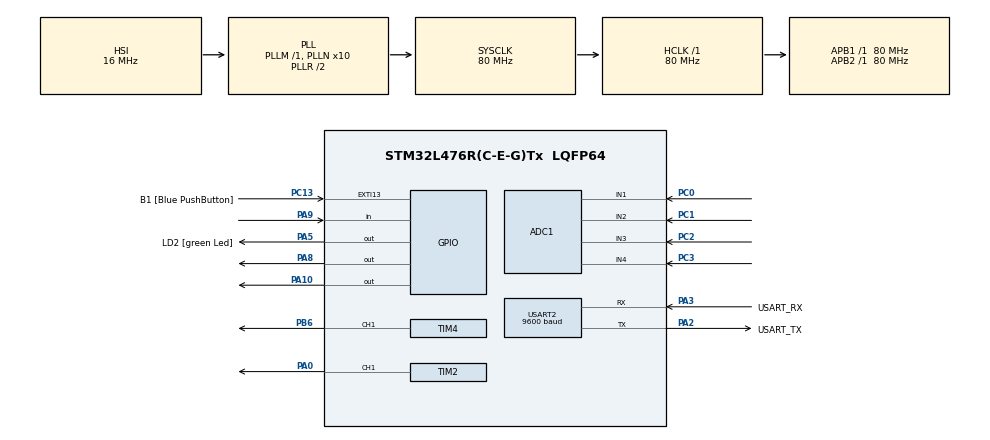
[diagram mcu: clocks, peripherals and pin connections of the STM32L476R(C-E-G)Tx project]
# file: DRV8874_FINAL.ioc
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Mcu.Family=STM32L4
PA2.GPIO_PuPd=GPIO_NOPULL
RCC.CortexFreq_Value=80000000
ADC1.ContinuousConvMode=ENABLE
PH0-OSC_IN\ (PH0).Signal=RCC_OSC_IN
SH.ADCx_IN2.0=ADC1_IN2,IN2-Single-Ended
PA3.GPIO_PuPd=GPIO_NOPULL
PA2.GPIO_Speed=GPIO_SPEED_FREQ_VERY_HIGH
PC15-OSC32_OUT\ (PC15).Mode=LSE-External-Oscillator
PC13.GPIO_Label=B1 [Blue PushButton]
PA3.GPIO_Speed=GPIO_SPEED_FREQ_VERY_HIGH
RCC.SYSCLKSource=RCC_SYSCLKSOURCE_PLLCLK
ProjectManager.StackSize=0x400
PC14-OSC32_IN\ (PC14).Mode=LSE-External-Oscillator
PA14\ (JTCK-SWCLK).Signal=SYS_JTCK-SWCLK
ADC1.Channel-3\#ChannelRegularConversion=ADC_CHANNEL_4
RCC.HCLKFreq_Value=80000000
SH.ADCx_IN3.0=ADC1_IN3,IN3-Single-Ended
RCC.APB2TimFreq_Value=80000000
PB6.Signal=S_TIM4_CH1
ADC1.Channel-2\#ChannelRegularConversion=ADC_CHANNEL_3
PC3.Signal=ADCx_IN4
RCC.AHBFreq_Value=80000000
RCC.PREFETCH_ENABLE=1
ADC1.Channel-0\#ChannelRegularConversion=ADC_CHANNEL_1
PH1-OSC_OUT\ (PH1).Mode=HSE-External-Oscillator
RCC.HSE_VALUE=8000000
USART2.VirtualMode-Asynchronous=VM_ASYNC
ADC1.Rank-2\#ChannelRegularConversion=3
PA5.GPIO_PuPd=GPIO_NOPULL
PC13.GPIO_PuPd=GPIO_NOPULL
PA8.Signal=GPIO_Output
TIM2.Channel-PWM\ Generation1\ CH1=TIM_CHANNEL_1
TIM4.Period=999
VP_FREERTOS_VS_CMSIS_V1.Mode=CMSIS_V1
ADC1.SamplingTime-0\#ChannelRegularConversion=ADC_SAMPLETIME_640CYCLES_5
PA0.Signal=S_TIM2_CH1
Mcu.Package=LQFP64
TIM2.Prescaler=3
NVIC.TimeBase=TIM1_BRK_TIM15_IRQn
PA2.GPIO_Label=USART_TX
NVIC.TimeBaseIP=TIM15
PA10.Signal=GPIO_Output
ADC1.OffsetNumber-1\#ChannelRegularConversion=ADC_OFFSET_NONE
SH.ADCx_IN1.0=ADC1_IN1,IN1-Single-Ended
SH.S_TIM4_CH1.0=TIM4_CH1,PWM Generation1 CH1
RCC.APB1TimFreq_Value=80000000
PA13\ (JTMS-SWDIO).Signal=SYS_JTMS-SWDIO
PH0-OSC_IN\ (PH0).Mode=HSE-External-Oscillator
PA3.Signal=USART2_RX
VP_SYS_VS_tim15.Mode=TIM15
PA2.GPIO_Mode=GPIO_MODE_AF_PP
RCC.MSI_VALUE=4000000
RCC.PLLSourceVirtual=RCC_PLLSOURCE_HSI
TIM4.Channel-PWM\ Generation1\ CH1=TIM_CHANNEL_1
PA14\ (JTCK-SWCLK).Mode=Serial_Wire
SH.S_TIM2_CH1.0=TIM2_CH1,PWM Generation1 CH1
FREERTOS.Tasks01=defaultTask,0,128,StartDefaultTask,Default,NULL,Dynamic,NULL,NULL
ADC1.Rank-0\#ChannelRegularConversion=1
ADC1.OffsetNumber-0\#ChannelRegularConversion=ADC_OFFSET_NONE
PC13.Signal=GPXTI13
ADC1.OffsetNumber-3\#ChannelRegularConversion=ADC_OFFSET_NONE
PC2.Signal=ADCx_IN3
PC15-OSC32_OUT\ (PC15).Signal=RCC_OSC32_OUT
PA14\ (JTCK-SWCLK).GPIO_Label=TCK
PC0.Signal=ADCx_IN1
USART2.BaudRate=9600
ADC1.SamplingTime-2\#ChannelRegularConversion=ADC_SAMPLETIME_640CYCLES_5
PH1-OSC_OUT\ (PH1).Signal=RCC_OSC_OUT
PA3.Mode=Asynchronous
ProjectManager.TargetToolchain=STM32CubeIDE
PA3.GPIO_Mode=GPIO_MODE_AF_PP
PA9.Signal=GPIO_Input
ADC1.Channel-1\#ChannelRegularConversion=ADC_CHANNEL_2
RCC.USBFreq_Value=64000000
TIM4.Prescaler=3
PA5.Signal=GPIO_Output
NVIC.TIM1_BRK_TIM15_IRQn=true\:0\:0\:false\:false\:true\:false\:false\:true
board=NUCLEO-L476RG
RCC.VCOOutputFreq_Value=160000000
RCC.APB2Freq_Value=80000000
PA5.GPIO_ModeDefaultOutputPP=GPIO_MODE_OUTPUT_PP
PA13\ (JTMS-SWDIO).GPIO_Label=TMS
RCC.ADCFreq_Value=64000000
SH.ADCx_IN4.0=ADC1_IN4,IN4-Single-Ended
TIM2.Period=999
ADC1.NbrOfConversion=4
ADC1.OffsetNumber-2\#ChannelRegularConversion=ADC_OFFSET_NONE
Mcu.Name=STM32L476R(C-E-G)Tx
PA2.Signal=USART2_TX
PA13\ (JTMS-SWDIO).Mode=Serial_Wire
ADC1.SamplingTime-1\#ChannelRegularConversion=ADC_SAMPLETIME_640CYCLES_5
RCC.SYSCLKFreq_VALUE=80000000
ADC1.master=1
PA5.GPIO_Label=LD2 [green Led]
ADC1.Rank-3\#ChannelRegularConversion=4
ADC1.SamplingTime-3\#ChannelRegularConversion=ADC_SAMPLETIME_640CYCLES_5
PC13.GPIO_ModeDefaultEXTI=GPIO_MODE_IT_FALLING
PC14-OSC32_IN\ (PC14).Signal=RCC_OSC32_IN
ADC1.Rank-1\#ChannelRegularConversion=2
ProjectManager.HeapSize=0x200
RCC.HSI_VALUE=16000000
PA5.GPIO_Speed=GPIO_SPEED_FREQ_LOW
NVIC.PriorityGroup=NVIC_PRIORITYGROUP_4
ADC1.NbrOfConversionFlag=1
RCC.PLLN=10
PA2.Mode=Asynchronous
RCC.APB1Freq_Value=80000000
PC1.Signal=ADCx_IN2
PA3.GPIO_Label=USART_RX

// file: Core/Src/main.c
/* USER CODE BEGIN Header */
/**
  ******************************************************************************
  * @file           : main.c
  * @brief          : Main program body
  ******************************************************************************
  * @attention
  *
  * <h2><center>&copy; Copyright (c) 2021 STMicroelectronics.
  * All rights reserved.</center></h2>
  *
  * This software component is licensed by ST under BSD 3-Clause license,
  * the "License"; You may not use this file except in compliance with the
  * License. You may obtain a copy of the License at:
  *                        opensource.org/licenses/BSD-3-Clause
  *
  ******************************************************************************
  */
/* USER CODE END Header */
#include "main.h"
#include "cmsis_os.h"

/* USER CODE BEGIN Includes */
#include "FreeRTOS.h"
#include "task.h"

#include "stdlib.h"
/* USER CODE END Includes */

ADC_HandleTypeDef hadc1;

TIM_HandleTypeDef htim2;
TIM_HandleTypeDef htim4;

UART_HandleTypeDef huart2;

osThreadId defaultTaskHandle;
/* USER CODE BEGIN PV */

uint32_t adc_location,adc_pot,adc_Iprop,adc_Vref;
uint32_t CWADC;
uint16_t CWPWM = 1000;
uint16_t CCWPWM = 0;
float V_Iprop,V_vref,V_pot,V_loc,I_Iprop;
int isClockWise = 1;

/* USER CODE END PV */

void SystemClock_Config(void);
static void MX_GPIO_Init(void);
static void MX_USART2_UART_Init(void);
static void MX_ADC1_Init(void);
static void MX_TIM2_Init(void);
static void MX_TIM4_Init(void);
void StartDefaultTask(void const * argument);

/* USER CODE BEGIN 0 */
//------------------------------------------------------------------------------------TASK HANDLERS
TaskHandle_t ADC_Handler;
void ADC_TASK(void *pvParameters);

TaskHandle_t Motor_Handler;
void MOTOR_TASK(void *pvParameters);

TaskHandle_t Coil_Handler;
void COIL_TASK(void *pvParameters);
/*
//------------------------------------------------------------------------------------ADC SELECTORS
void ADC_Select_CH0 (void)
{
	ADC_ChannelConfTypeDef sConfig = {0};
	sConfig.Channel = ADC_CHANNEL_0;
	sConfig.Rank = 1;
	sConfig.SamplingTime = ADC_SAMPLETIME_92CYCLES_5;
	if (HAL_ADC_ConfigChannel(&hadc1, &sConfig) != HAL_OK)
	{
	  Error_Handler();
	}
}

void ADC_Select_CH1 (void)
{
	ADC_ChannelConfTypeDef sConfig = {0};
	sConfig.Channel = ADC_CHANNEL_1;
	sConfig.Rank = 1;
	sConfig.SamplingTime = ADC_SAMPLETIME_92CYCLES_5;
	if (HAL_ADC_ConfigChannel(&hadc1, &sConfig) != HAL_OK)
	{
	  Error_Handler();
	}
}

void ADC_Select_CH2 (void)
{
	ADC_ChannelConfTypeDef sConfig = {0};
	sConfig.Channel = ADC_CHANNEL_2;
	sConfig.Rank = 1;
	sConfig.SamplingTime = ADC_SAMPLETIME_92CYCLES_5;
	if (HAL_ADC_ConfigChannel(&hadc1, &sConfig) != HAL_OK)
	{
	  Error_Handler();
	}
}

void ADC_Select_CH3 (void)
{
	ADC_ChannelConfTypeDef sConfig = {0};
	sConfig.Channel = ADC_CHANNEL_3;
	sConfig.Rank = 1;
	sConfig.SamplingTime = ADC_SAMPLETIME_92CYCLES_5;
	if (HAL_ADC_ConfigChannel(&hadc1, &sConfig) != HAL_OK)
	{
	  Error_Handler();
	}
}
*/
/* USER CODE END 0 */

int main(void)
{

  /* MCU Configuration--------------------------------------------------------*/

  /* Reset of all peripherals, Initializes the Flash interface and the Systick. */
  HAL_Init();

  /* Configure the system clock */
  SystemClock_Config();

  /* Initialize all configured peripherals */
  MX_GPIO_Init();
  MX_USART2_UART_Init();
  MX_ADC1_Init();
  MX_TIM2_Init();
  MX_TIM4_Init();
  /* USER CODE BEGIN 2 */

  HAL_GPIO_WritePin(GPIOA, GPIO_PIN_10, GPIO_PIN_SET); // PMODE
  HAL_GPIO_WritePin(GPIOA, GPIO_PIN_8, GPIO_PIN_SET); // nSLEEP
  HAL_TIM_PWM_Start(&htim2, TIM_CHANNEL_1);
  HAL_TIM_PWM_Start(&htim4, TIM_CHANNEL_1);

  xTaskCreate(ADC_TASK, "ADC", 128, NULL, 2, &ADC_Handler);
  xTaskCreate(MOTOR_TASK, "MOTOR", 128, NULL, 2, &Motor_Handler);
  xTaskCreate(COIL_TASK, "COIL", 128, NULL, 2, &Coil_Handler);

  vTaskStartScheduler();
  /* USER CODE END 2 */

  /* Create the thread(s) */
  /* definition and creation of defaultTask */

  /* We should never get here as control is now taken by the scheduler */
  /* Infinite loop */
  while (1)
  {

  }
}

void SystemClock_Config(void)
{
  RCC_OscInitTypeDef RCC_OscInitStruct = {0};
  RCC_ClkInitTypeDef RCC_ClkInitStruct = {0};
  RCC_PeriphCLKInitTypeDef PeriphClkInit = {0};

  /** Initializes the RCC Oscillators according to the specified parameters
  * in the RCC_OscInitTypeDef structure.
  */
  RCC_OscInitStruct.OscillatorType = RCC_OSCILLATORTYPE_HSI;
  RCC_OscInitStruct.HSIState = RCC_HSI_ON;
  RCC_OscInitStruct.HSICalibrationValue = RCC_HSICALIBRATION_DEFAULT;
  RCC_OscInitStruct.PLL.PLLState = RCC_PLL_ON;
  RCC_OscInitStruct.PLL.PLLSource = RCC_PLLSOURCE_HSI;
  RCC_OscInitStruct.PLL.PLLM = 1;
  RCC_OscInitStruct.PLL.PLLN = 10;
  RCC_OscInitStruct.PLL.PLLP = RCC_PLLP_DIV7;
  RCC_OscInitStruct.PLL.PLLQ = RCC_PLLQ_DIV2;
  RCC_OscInitStruct.PLL.PLLR = RCC_PLLR_DIV2;
  if (HAL_RCC_OscConfig(&RCC_OscInitStruct) != HAL_OK)
  {
    Error_Handler();
  }
  /** Initializes the CPU, AHB and APB buses clocks
  */
  RCC_ClkInitStruct.ClockType = RCC_CLOCKTYPE_HCLK|RCC_CLOCKTYPE_SYSCLK
                              |RCC_CLOCKTYPE_PCLK1|RCC_CLOCKTYPE_PCLK2;
  RCC_ClkInitStruct.SYSCLKSource = RCC_SYSCLKSOURCE_PLLCLK;
  RCC_ClkInitStruct.AHBCLKDivider = RCC_SYSCLK_DIV1;
  RCC_ClkInitStruct.APB1CLKDivider = RCC_HCLK_DIV1;
  RCC_ClkInitStruct.APB2CLKDivider = RCC_HCLK_DIV1;

  if (HAL_RCC_ClockConfig(&RCC_ClkInitStruct, FLASH_LATENCY_4) != HAL_OK)
  {
    Error_Handler();
  }
  PeriphClkInit.PeriphClockSelection = RCC_PERIPHCLK_USART2|RCC_PERIPHCLK_ADC;
  PeriphClkInit.Usart2ClockSelection = RCC_USART2CLKSOURCE_PCLK1;
  PeriphClkInit.AdcClockSelection = RCC_ADCCLKSOURCE_PLLSAI1;
  PeriphClkInit.PLLSAI1.PLLSAI1Source = RCC_PLLSOURCE_HSI;
  PeriphClkInit.PLLSAI1.PLLSAI1M = 1;
  PeriphClkInit.PLLSAI1.PLLSAI1N = 8;
  PeriphClkInit.PLLSAI1.PLLSAI1P = RCC_PLLP_DIV7;
  PeriphClkInit.PLLSAI1.PLLSAI1Q = RCC_PLLQ_DIV2;
  PeriphClkInit.PLLSAI1.PLLSAI1R = RCC_PLLR_DIV2;
  PeriphClkInit.PLLSAI1.PLLSAI1ClockOut = RCC_PLLSAI1_ADC1CLK;
  if (HAL_RCCEx_PeriphCLKConfig(&PeriphClkInit) != HAL_OK)
  {
    Error_Handler();
  }
  /** Configure the main internal regulator output voltage
  */
  if (HAL_PWREx_ControlVoltageScaling(PWR_REGULATOR_VOLTAGE_SCALE1) != HAL_OK)
  {
    Error_Handler();
  }
}

static void MX_ADC1_Init(void)
{

  ADC_MultiModeTypeDef multimode = {0};
  ADC_ChannelConfTypeDef sConfig = {0};

  /** Common config
  */
  hadc1.Instance = ADC1;
  hadc1.Init.ClockPrescaler = ADC_CLOCK_ASYNC_DIV1;
  hadc1.Init.Resolution = ADC_RESOLUTION_12B;
  hadc1.Init.DataAlign = ADC_DATAALIGN_RIGHT;
  hadc1.Init.ScanConvMode = ADC_SCAN_ENABLE;
  hadc1.Init.EOCSelection = ADC_EOC_SINGLE_CONV;
  hadc1.Init.LowPowerAutoWait = DISABLE;
  hadc1.Init.ContinuousConvMode = ENABLE;
  hadc1.Init.NbrOfConversion = 4;
  hadc1.Init.DiscontinuousConvMode = DISABLE;
  hadc1.Init.ExternalTrigConv = ADC_SOFTWARE_START;
  hadc1.Init.ExternalTrigConvEdge = ADC_EXTERNALTRIGCONVEDGE_NONE;
  hadc1.Init.DMAContinuousRequests = DISABLE;
  hadc1.Init.Overrun = ADC_OVR_DATA_PRESERVED;
  hadc1.Init.OversamplingMode = DISABLE;
  if (HAL_ADC_Init(&hadc1) != HAL_OK)
  {
    Error_Handler();
  }
  /** Configure the ADC multi-mode
  */
  multimode.Mode = ADC_MODE_INDEPENDENT;
  if (HAL_ADCEx_MultiModeConfigChannel(&hadc1, &multimode) != HAL_OK)
  {
    Error_Handler();
  }
  /** Configure Regular Channel
  */
  sConfig.Channel = ADC_CHANNEL_1;
  sConfig.Rank = ADC_REGULAR_RANK_1;
  sConfig.SamplingTime = ADC_SAMPLETIME_640CYCLES_5;
  sConfig.SingleDiff = ADC_SINGLE_ENDED;
  sConfig.OffsetNumber = ADC_OFFSET_NONE;
  sConfig.Offset = 0;
  if (HAL_ADC_ConfigChannel(&hadc1, &sConfig) != HAL_OK)
  {
    Error_Handler();
  }
  /** Configure Regular Channel
  */
  sConfig.Channel = ADC_CHANNEL_2;
  sConfig.Rank = ADC_REGULAR_RANK_2;
  if (HAL_ADC_ConfigChannel(&hadc1, &sConfig) != HAL_OK)
  {
    Error_Handler();
  }
  /** Configure Regular Channel
  */
  sConfig.Channel = ADC_CHANNEL_3;
  sConfig.Rank = ADC_REGULAR_RANK_3;
  if (HAL_ADC_ConfigChannel(&hadc1, &sConfig) != HAL_OK)
  {
    Error_Handler();
  }
  /** Configure Regular Channel
  */
  sConfig.Channel = ADC_CHANNEL_4;
  sConfig.Rank = ADC_REGULAR_RANK_4;
  if (HAL_ADC_ConfigChannel(&hadc1, &sConfig) != HAL_OK)
  {
    Error_Handler();
  }

}

static void MX_TIM2_Init(void)
{

  TIM_MasterConfigTypeDef sMasterConfig = {0};
  TIM_OC_InitTypeDef sConfigOC = {0};

  htim2.Instance = TIM2;
  htim2.Init.Prescaler = 3;
  htim2.Init.CounterMode = TIM_COUNTERMODE_UP;
  htim2.Init.Period = 999;
  htim2.Init.ClockDivision = TIM_CLOCKDIVISION_DIV1;
  htim2.Init.AutoReloadPreload = TIM_AUTORELOAD_PRELOAD_DISABLE;
  if (HAL_TIM_PWM_Init(&htim2) != HAL_OK)
  {
    Error_Handler();
  }
  sMasterConfig.MasterOutputTrigger = TIM_TRGO_RESET;
  sMasterConfig.MasterSlaveMode = TIM_MASTERSLAVEMODE_DISABLE;
  if (HAL_TIMEx_MasterConfigSynchronization(&htim2, &sMasterConfig) != HAL_OK)
  {
    Error_Handler();
  }
  sConfigOC.OCMode = TIM_OCMODE_PWM1;
  sConfigOC.Pulse = 0;
  sConfigOC.OCPolarity = TIM_OCPOLARITY_HIGH;
  sConfigOC.OCFastMode = TIM_OCFAST_DISABLE;
  if (HAL_TIM_PWM_ConfigChannel(&htim2, &sConfigOC, TIM_CHANNEL_1) != HAL_OK)
  {
    Error_Handler();
  }
  HAL_TIM_MspPostInit(&htim2);

}

static void MX_TIM4_Init(void)
{

  TIM_MasterConfigTypeDef sMasterConfig = {0};
  TIM_OC_InitTypeDef sConfigOC = {0};

  htim4.Instance = TIM4;
  htim4.Init.Prescaler = 3;
  htim4.Init.CounterMode = TIM_COUNTERMODE_UP;
  htim4.Init.Period = 999;
  htim4.Init.ClockDivision = TIM_CLOCKDIVISION_DIV1;
  htim4.Init.AutoReloadPreload = TIM_AUTORELOAD_PRELOAD_DISABLE;
  if (HAL_TIM_PWM_Init(&htim4) != HAL_OK)
  {
    Error_Handler();
  }
  sMasterConfig.MasterOutputTrigger = TIM_TRGO_RESET;
  sMasterConfig.MasterSlaveMode = TIM_MASTERSLAVEMODE_DISABLE;
  if (HAL_TIMEx_MasterConfigSynchronization(&htim4, &sMasterConfig) != HAL_OK)
  {
    Error_Handler();
  }
  sConfigOC.OCMode = TIM_OCMODE_PWM1;
  sConfigOC.Pulse = 0;
  sConfigOC.OCPolarity = TIM_OCPOLARITY_HIGH;
  sConfigOC.OCFastMode = TIM_OCFAST_DISABLE;
  if (HAL_TIM_PWM_ConfigChannel(&htim4, &sConfigOC, TIM_CHANNEL_1) != HAL_OK)
  {
    Error_Handler();
  }
  HAL_TIM_MspPostInit(&htim4);

}

static void MX_USART2_UART_Init(void)
{

  huart2.Instance = USART2;
  huart2.Init.BaudRate = 9600;
  huart2.Init.WordLength = UART_WORDLENGTH_8B;
  huart2.Init.StopBits = UART_STOPBITS_1;
  huart2.Init.Parity = UART_PARITY_NONE;
  huart2.Init.Mode = UART_MODE_TX_RX;
  huart2.Init.HwFlowCtl = UART_HWCONTROL_NONE;
  huart2.Init.OverSampling = UART_OVERSAMPLING_16;
  huart2.Init.OneBitSampling = UART_ONE_BIT_SAMPLE_DISABLE;
  huart2.AdvancedInit.AdvFeatureInit = UART_ADVFEATURE_NO_INIT;
  if (HAL_UART_Init(&huart2) != HAL_OK)
  {
    Error_Handler();
  }

}

static void MX_GPIO_Init(void)
{
  GPIO_InitTypeDef GPIO_InitStruct = {0};

  /* GPIO Ports Clock Enable */
  __HAL_RCC_GPIOC_CLK_ENABLE();
  __HAL_RCC_GPIOH_CLK_ENABLE();
  __HAL_RCC_GPIOA_CLK_ENABLE();
  __HAL_RCC_GPIOB_CLK_ENABLE();

  /*Configure GPIO pin Output Level */
  HAL_GPIO_WritePin(GPIOA, LD2_Pin|GPIO_PIN_8|GPIO_PIN_10, GPIO_PIN_RESET);

  /*Configure GPIO pin : B1_Pin */
  GPIO_InitStruct.Pin = B1_Pin;
  GPIO_InitStruct.Mode = GPIO_MODE_IT_FALLING;
  GPIO_InitStruct.Pull = GPIO_NOPULL;
  HAL_GPIO_Init(B1_GPIO_Port, &GPIO_InitStruct);

  /*Configure GPIO pins : LD2_Pin PA8 PA10 */
  GPIO_InitStruct.Pin = LD2_Pin|GPIO_PIN_8|GPIO_PIN_10;
  GPIO_InitStruct.Mode = GPIO_MODE_OUTPUT_PP;
  GPIO_InitStruct.Pull = GPIO_NOPULL;
  GPIO_InitStruct.Speed = GPIO_SPEED_FREQ_LOW;
  HAL_GPIO_Init(GPIOA, &GPIO_InitStruct);

  /*Configure GPIO pin : PA9 */
  GPIO_InitStruct.Pin = GPIO_PIN_9;
  GPIO_InitStruct.Mode = GPIO_MODE_INPUT;
  GPIO_InitStruct.Pull = GPIO_NOPULL;
  HAL_GPIO_Init(GPIOA, &GPIO_InitStruct);

}

/* USER CODE BEGIN 4 */
void ADC_TASK(void *pvParameters){
	for(;;)
	{
		HAL_ADC_Start(&hadc1);

		HAL_ADC_PollForConversion(&hadc1, HAL_MAX_DELAY);
		adc_location = HAL_ADC_GetValue(&hadc1);
		V_loc = (float)adc_location/4096*5;

		HAL_ADC_PollForConversion(&hadc1, HAL_MAX_DELAY);
		adc_pot  = HAL_ADC_GetValue(&hadc1);
		V_pot = (float)adc_pot/4096*5;

		HAL_ADC_PollForConversion(&hadc1, HAL_MAX_DELAY);
		adc_Iprop = HAL_ADC_GetValue(&hadc1);
		V_Iprop = (float)adc_Iprop/4096*5;
		I_Iprop = V_Iprop/1500;//R_Iprop

		HAL_ADC_PollForConversion(&hadc1, HAL_MAX_DELAY);
		adc_Vref  = HAL_ADC_GetValue(&hadc1);
		V_vref = (float)adc_Vref/4096*5;

		HAL_ADC_Stop(&hadc1);
		/*
		ADC_Select_CH0();
		HAL_ADC_Start(&hadc1);
		HAL_ADC_PollForConversion(&hadc1, HAL_MAX_DELAY);
		adc_location = HAL_ADC_GetValue(&hadc1);
		V_loc = (float)adc_location/4096*5;
		HAL_ADC_Stop(&hadc1);

		ADC_Select_CH1();
		HAL_ADC_Start(&hadc1);
		HAL_ADC_PollForConversion(&hadc1, HAL_MAX_DELAY);
		adc_pot = HAL_ADC_GetValue(&hadc1);
		V_pot = (float)adc_pot/4096*5;
		HAL_ADC_Stop(&hadc1);

		ADC_Select_CH2();
		HAL_ADC_Start(&hadc1);
		HAL_ADC_PollForConversion(&hadc1, HAL_MAX_DELAY);
		adc_Iprop = HAL_ADC_GetValue(&hadc1);
		V_Iprop = (float)adc_Iprop/4096*5;
		I_Iprop = V_Iprop/1500;//R_Iprop
		HAL_ADC_Stop(&hadc1);

		ADC_Select_CH3();
		HAL_ADC_Start(&hadc1);
		HAL_ADC_PollForConversion(&hadc1, HAL_MAX_DELAY);
		adc_Vref = HAL_ADC_GetValue(&hadc1);
		V_vref = (float)adc_Vref/4096*5;
		HAL_ADC_Stop(&hadc1);
	*/
	}
}

void MOTOR_TASK(void *pvParameters){
	for(;;)
	{
		if(V_vref < V_Iprop || V_Iprop > V_pot){
			CWPWM = 0;
			CCWPWM = 0;
			if(isClockWise){
				CWADC = adc_location;
			}
		}
		htim2.Instance->CCR1 = CWPWM;
		htim4.Instance->CCR1 = CCWPWM;

		osDelay(50);
	}
}

void COIL_TASK(void *pvParameters){
	for(;;)
	{
		if(CWPWM == 0 && CCWPWM == 0){
			if(adc_location > CWADC+600){
					isClockWise = 0;
			}else{
					isClockWise = 1;
			}
		}

		if(HAL_GPIO_ReadPin(GPIOC, B1_Pin) == GPIO_PIN_RESET){
			if(isClockWise == 1){
				CWPWM = 0;
				CCWPWM = 1000;
				isClockWise = 0;
			}else if(isClockWise == 0){
				CWPWM = 1000;
				CCWPWM = 0;
				isClockWise = 1;
			}
			HAL_Delay(1000);
		}

		osDelay(100);
	}
}

/* USER CODE END 4 */

void HAL_TIM_PeriodElapsedCallback(TIM_HandleTypeDef *htim)
{
  if (htim->Instance == TIM15) {
    HAL_IncTick();
  }
}

void Error_Handler(void)
{
  __disable_irq();
  while (1)
  {
  }
}

/************************ (C) COPYRIGHT STMicroelectronics *****END OF FILE****/
